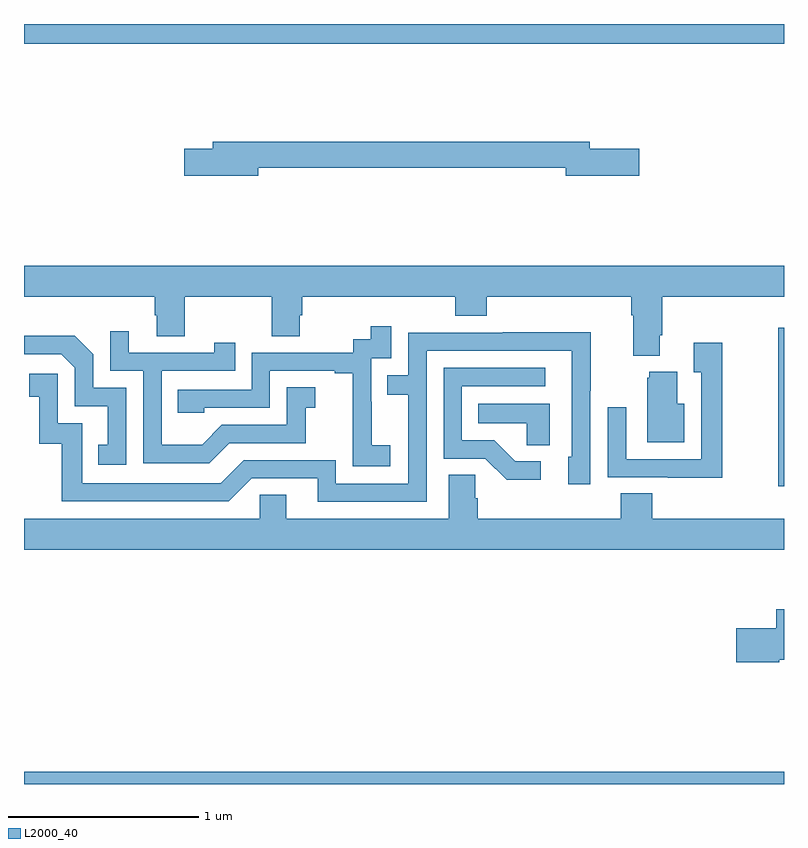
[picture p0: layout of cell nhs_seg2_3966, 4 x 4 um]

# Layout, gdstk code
import gdstk
lib = gdstk.Library(unit=1e-6, precision=1e-09)
def R(c, l, rs):  # rectangles x0, y0, x1, y1
    for r in rs: c.add(gdstk.rectangle(r[:2], r[2:], *l))
def P(c, l, *ps):  # polygons
    for p in ps: c.add(gdstk.Polygon(p, *l))
L2000_40 = (2000, 40)

nhs_seg2_3966 = lib.new_cell('nhs_seg2_3966')
R(nhs_seg2_3966, L2000_40, [(323,583.8,327,583.864), (326.971,585.366,327,586.201), (323,587.696,327,587.8)])
P(nhs_seg2_3966, L2000_40, [(324.232,587.044),(325.85,587.044),(325.85,587.002),(326.239,587.002),(326.239,587.144),(325.978,587.144),(325.978,587.18),(323.993,587.18),(323.993,587.144),(323.844,587.144),(323.844,587.002),(324.232,587.002)],
  [(326.347,586.162),(326.36,586.162),(326.36,586.364),(327,586.364),(327,586.528),(323,586.528),(323,586.364),(323.687,586.364),(323.687,586.266),(323.699,586.266),(323.699,586.156),(323.847,586.156),(323.847,586.364),(324.304,586.364),(324.304,586.156),(324.451,586.156),(324.451,586.266),(324.464,586.266),(324.464,586.364),(325.271,586.364),(325.271,586.265),(325.436,586.265),(325.436,586.364),(326.195,586.364),(326.195,586.268),(326.207,586.268),(326.207,586.055),(326.347,586.055)],
  [(324.928,585.583),(324.83,585.583),(324.83,585.812),(324.828,585.812),(324.828,586.041),(324.933,586.041),(324.933,586.21),(324.825,586.21),(324.825,586.14),(324.732,586.14),(324.732,586.071),(324.198,586.071),(324.198,585.876),(323.809,585.876),(323.809,585.753),(323.949,585.753),(323.949,585.78),(324.294,585.78),(324.294,585.975),(324.635,585.975),(324.635,585.963),(324.731,585.963),(324.731,585.679),(324.73,585.679),(324.73,585.473),(324.928,585.473)],
  [(324.079,585.594),(324.483,585.594),(324.483,585.779),(324.532,585.779),(324.532,585.889),(324.384,585.889),(324.384,585.69),(324.042,585.69),(323.938,585.586),(323.724,585.586),(323.724,585.975),(324.113,585.975),(324.113,586.123),(324.002,586.123),(324.002,586.071),(323.551,586.071),(323.551,586.183),(323.454,586.183),(323.454,585.975),(323.628,585.975),(323.628,585.489),(323.974,585.489)],
  [(325.119,586.08),(325.884,586.08),(325.884,585.522),(325.865,585.522),(325.865,585.378),(325.98,585.378),(325.98,585.871),(325.983,585.871),(325.983,586.178),(325.519,586.178),(325.519,586.176),(325.023,586.176),(325.023,585.951),(324.913,585.951),(324.913,585.85),(325.023,585.85),(325.023,585.381),(324.642,585.381),(324.642,585.504),(324.156,585.504),(324.036,585.384),(323.307,585.384),(323.307,585.699),(323.178,585.699),(323.178,585.958),(323.028,585.958),(323.028,585.837),(323.081,585.837),(323.081,585.591),(323.199,585.591),(323.199,585.288),(324.078,585.288),(324.198,585.408),(324.545,585.408),(324.545,585.285),(325.119,585.285)],
  [(323.538,585.885),(323.364,585.885),(323.364,586.062),(323.266,586.16),(323,586.16),(323,586.062),(323.196,586.062),(323.268,585.99),(323.268,585.789),(323.441,585.789),(323.441,585.585),(323.392,585.585),(323.392,585.48),(323.538,585.48)],
  [(326.674,586.123),(326.525,586.123),(326.525,585.967),(326.565,585.967),(326.565,585.51),(326.169,585.51),(326.169,585.784),(326.073,585.784),(326.073,585.414),(326.389,585.414),(326.389,585.413),(326.674,585.413)],
  [(325.72,585.498),(325.585,585.498),(325.474,585.609),(325.305,585.609),(325.305,585.894),(325.744,585.894),(325.744,585.99),(325.209,585.99),(325.209,585.513),(325.428,585.513),(325.541,585.401),(325.72,585.401)],
  [(326.476,585.802),(326.437,585.802),(326.437,585.97),(326.291,585.97),(326.291,585.939),(326.279,585.939),(326.279,585.599),(326.476,585.599)],
  [(325.768,585.802),(325.39,585.802),(325.39,585.698),(325.647,585.698),(325.647,585.583),(325.768,585.583)],
  [(327,585.196),(326.306,585.196),(326.306,585.329),(326.141,585.329),(326.141,585.196),(325.388,585.196),(325.388,585.305),(325.374,585.305),(325.374,585.428),(325.235,585.428),(325.235,585.196),(324.379,585.196),(324.379,585.323),(324.24,585.323),(324.24,585.196),(323,585.196),(323,585.032),(327,585.032)],
  [(326.976,584.453),(327,584.453),(327,584.719),(326.96,584.719),(326.96,584.619),(326.748,584.619),(326.748,584.441),(326.976,584.441)])

lib.write_gds('nhs_seg2_3966.gds')
